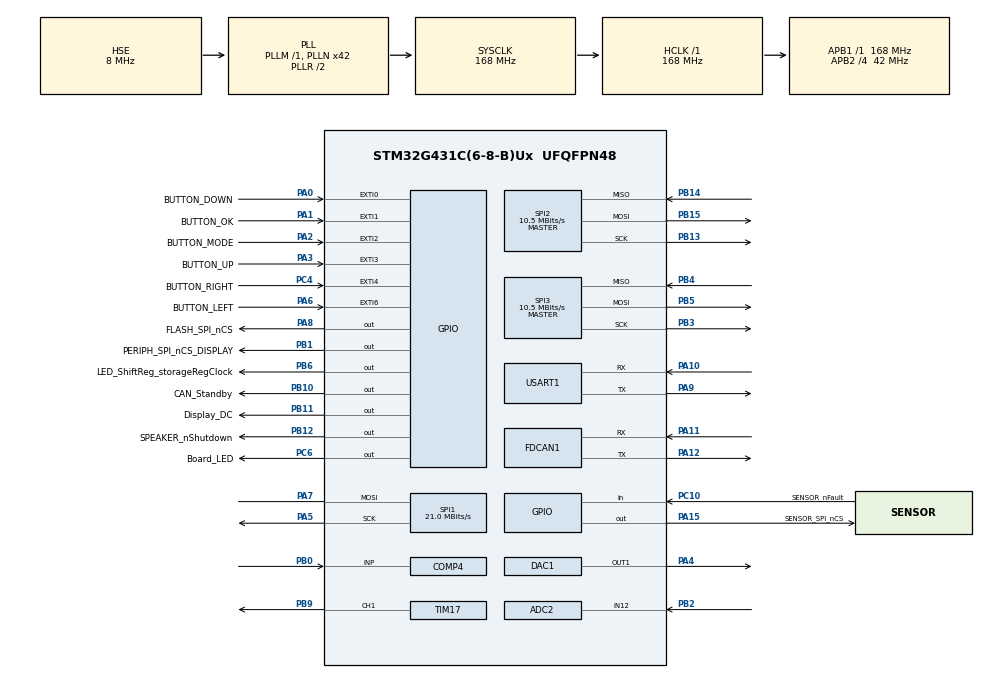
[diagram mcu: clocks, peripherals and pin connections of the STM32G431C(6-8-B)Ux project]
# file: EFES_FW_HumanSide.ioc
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ADC2.Channel-2\#ChannelRegularConversion=ADC_CHANNEL_12
ADC2.NbrOfConversionFlag=1
ADC2.OffsetNumber-2\#ChannelRegularConversion=ADC_OFFSET_NONE
ADC2.Rank-2\#ChannelRegularConversion=1
ADC2.SamplingTime-2\#ChannelRegularConversion=ADC_SAMPLETIME_2CYCLES_5
DAC3.DAC_Channel-DAC_OUT2_Int=DAC_CHANNEL_2
Dma.Request0=SPI1_TX
Dma.SPI1_TX.0.Direction=DMA_MEMORY_TO_PERIPH
Dma.SPI1_TX.0.EventEnable=DISABLE
Dma.SPI1_TX.0.Instance=DMA1_Channel1
Dma.SPI1_TX.0.MemDataAlignment=DMA_MDATAALIGN_BYTE
Dma.SPI1_TX.0.MemInc=DMA_MINC_ENABLE
Dma.SPI1_TX.0.Mode=DMA_NORMAL
Dma.SPI1_TX.0.PeriphDataAlignment=DMA_PDATAALIGN_BYTE
Dma.SPI1_TX.0.PeriphInc=DMA_PINC_DISABLE
Dma.SPI1_TX.0.Polarity=HAL_DMAMUX_REQ_GEN_RISING
Dma.SPI1_TX.0.Priority=DMA_PRIORITY_HIGH
Dma.SPI1_TX.0.RequestNumber=1
Dma.SPI1_TX.0.SignalID=NONE
Dma.SPI1_TX.0.SyncEnable=DISABLE
Dma.SPI1_TX.0.SyncPolarity=HAL_DMAMUX_SYNC_NO_EVENT
Dma.SPI1_TX.0.SyncRequestNumber=1
Dma.SPI1_TX.0.SyncSignalID=NONE
FDCAN1.CalculateBaudRateNominal=500000
FDCAN1.CalculateTimeBitNominal=2000
FDCAN1.CalculateTimeQuantumNominal=71.42857142857143
FDCAN1.NominalPrescaler=12
FDCAN1.NominalSyncJumpWidth=4
FDCAN1.NominalTimeSeg1=23
FDCAN1.NominalTimeSeg2=4
FDCAN1.StdFiltersNbr=1
Mcu.Family=STM32G4
Mcu.Name=STM32G431C(6-8-B)Ux
Mcu.Package=UFQFPN48
NVIC.DMA1_Channel1_IRQn=true\:5\:0\:true\:false\:true\:false\:true\:true
NVIC.FDCAN1_IT0_IRQn=true\:0\:0\:false\:false\:true\:true\:true\:true
NVIC.PriorityGroup=NVIC_PRIORITYGROUP_4
NVIC.TIM6_DAC_IRQn=true\:6\:0\:true\:false\:true\:true\:true\:true
NVIC.TIM7_IRQn=true\:6\:0\:true\:false\:true\:true\:true\:true
PA0.GPIO_Label=BUTTON_DOWN
PA0.Signal=GPXTI0
PA1.GPIO_Label=BUTTON_OK
PA1.Signal=GPXTI1
PA10.Mode=Asynchronous
PA10.Signal=USART1_RX
PA11.Mode=FDCAN_Activate
PA11.Signal=FDCAN1_RX
PA12.Mode=FDCAN_Activate
PA12.Signal=FDCAN1_TX
PA13.Mode=Serial_Wire
PA13.Signal=SYS_JTMS-SWDIO
PA14.Mode=Serial_Wire
PA14.Signal=SYS_JTCK-SWCLK
PA15.GPIO_Label=SENSOR_SPI_nCS
PA15.Signal=GPIO_Output
PA2.GPIO_Label=BUTTON_MODE
PA2.Signal=GPXTI2
PA3.GPIO_Label=BUTTON_UP
PA3.Signal=GPXTI3
PA4.Signal=COMP_DAC11_group
PA5.Mode=Simplex_Bidirectional_Master
PA5.Signal=SPI1_SCK
PA6.GPIO_Label=BUTTON_LEFT
PA6.Signal=GPXTI6
PA7.Mode=Simplex_Bidirectional_Master
PA7.Signal=SPI1_MOSI
PA8.GPIO_Label=FLASH_SPI_nCS
PA8.Signal=GPIO_Output
PA9.Mode=Asynchronous
PA9.Signal=USART1_TX
PB0.Mode=INP
PB0.Signal=COMP4_INP
PB1.GPIO_Label=PERIPH_SPI_nCS_DISPLAY
PB1.Signal=GPIO_Output
PB10.GPIO_Label=CAN_Standby
PB10.Signal=GPIO_Output
PB11.GPIO_Label=Display_DC
PB11.Signal=GPIO_Output
PB12.GPIO_Label=SPEAKER_nShutdown
PB12.Signal=GPIO_Output
PB13.Mode=Full_Duplex_Master
PB13.Signal=SPI2_SCK
PB14.Mode=Full_Duplex_Master
PB14.Signal=SPI2_MISO
PB15.Mode=Full_Duplex_Master
PB15.Signal=SPI2_MOSI
PB2.Mode=IN12-Single-Ended
PB2.Signal=ADC2_IN12
PB3.Mode=Full_Duplex_Master
PB3.Signal=SPI3_SCK
PB4.Mode=Full_Duplex_Master
PB4.Signal=SPI3_MISO
PB5.Mode=Full_Duplex_Master
PB5.Signal=SPI3_MOSI
PB6.GPIO_Label=LED_ShiftReg_storageRegClock
PB6.Signal=GPIO_Output
PB9.Signal=S_TIM17_CH1
PC10.GPIO_Label=SENSOR_nFault
PC10.Signal=GPIO_Input
PC4.GPIO_Label=BUTTON_RIGHT
PC4.Signal=GPXTI4
PC6.GPIO_Label=Board_LED
PC6.Signal=GPIO_Output
PF0-OSC_IN.Mode=HSE-External-Oscillator
PF0-OSC_IN.Signal=RCC_OSC_IN
PF1-OSC_OUT.Mode=HSE-External-Oscillator
PF1-OSC_OUT.Signal=RCC_OSC_OUT
ProjectManager.HeapSize=0x200
ProjectManager.StackSize=0x400
ProjectManager.TargetToolchain=CMake
RCC.ADC12Freq_Value=168000000
RCC.AHBFreq_Value=168000000
RCC.APB1Freq_Value=168000000
RCC.APB1TimFreq_Value=168000000
RCC.APB2CLKDivider=RCC_HCLK_DIV4
RCC.APB2Freq_Value=42000000
RCC.APB2TimFreq_Value=84000000
RCC.CortexFreq_Value=168000000
RCC.EXTERNAL_CLOCK_VALUE=12288000
RCC.HCLKFreq_Value=168000000
RCC.HSE_VALUE=8000000
RCC.HSI48_VALUE=48000000
RCC.HSI_VALUE=16000000
RCC.LSE_VALUE=32768
RCC.PLLN=42
RCC.PLLSourceVirtual=RCC_PLLSOURCE_HSE
RCC.SYSCLKFreq_VALUE=168000000
RCC.SYSCLKSource=RCC_SYSCLKSOURCE_PLLCLK
RCC.USBFreq_Value=168000000
RCC.VCOOutputFreq_Value=336000000
SH.COMP_DAC11_group.0=DAC1_OUT1,DAC_OUT1
SH.S_TIM17_CH1.0=TIM17_CH1,PWM Generation1 CH1
SPI1.BaudRatePrescaler=SPI_BAUDRATEPRESCALER_2
SPI1.CalculateBaudRate=21.0 MBits/s
SPI1.DataSize=SPI_DATASIZE_8BIT
SPI1.Direction=SPI_DIRECTION_1LINE
SPI1.Mode=SPI_MODE_MASTER
SPI1.VirtualType=VM_MASTER
SPI2.BaudRatePrescaler=SPI_BAUDRATEPRESCALER_16
SPI2.CalculateBaudRate=10.5 MBits/s
SPI2.Direction=SPI_DIRECTION_2LINES
SPI2.Mode=SPI_MODE_MASTER
SPI2.VirtualType=VM_MASTER
SPI3.BaudRatePrescaler=SPI_BAUDRATEPRESCALER_16
SPI3.CalculateBaudRate=10.5 MBits/s
SPI3.DataSize=SPI_DATASIZE_8BIT
SPI3.Direction=SPI_DIRECTION_2LINES
SPI3.Mode=SPI_MODE_MASTER
SPI3.VirtualType=VM_MASTER
TIM17.Channel=TIM_CHANNEL_1
TIM6.PeriodNoDither=199
TIM6.Prescaler=16799
TIM7.PeriodNoDither=49
TIM7.Prescaler=16799
USART1.VirtualMode-Asynchronous=VM_ASYNC
VP_COMP4_VS_DAC3OUT2.Mode=INM_DAC3OUT2
VP_DAC3_VS_DACI2.Mode=DAC_OUT2_Int
VP_SYS_VS_DBSignals.Mode=DisableDeadBatterySignals
VP_TIM16_VS_ClockSourceINT.Mode=Enable_Timer
VP_TIM17_VS_ClockSourceINT.Mode=Enable_Timer
VP_TIM6_VS_ClockSourceINT.Mode=Enable_Timer
VP_TIM7_VS_ClockSourceINT.Mode=Enable_Timer
board=custom

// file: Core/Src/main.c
/* USER CODE BEGIN Header */
/**
  ******************************************************************************
  * @file           : main.c
  * @brief          : Main program body
  ******************************************************************************
  * @attention
  *
  * Copyright (c) 2026 STMicroelectronics.
  * All rights reserved.
  *
  * This software is licensed under terms that can be found in the LICENSE file
  * in the root directory of this software component.
  * If no LICENSE file comes with this software, it is provided AS-IS.
  *
  ******************************************************************************
  */
/* USER CODE END Header */
#include "main.h"
#include "adc.h"
#include "comp.h"
#include "dac.h"
#include "dma.h"
#include "fdcan.h"
#include "spi.h"
#include "tim.h"
#include "usart.h"
#include "gpio.h"

/* USER CODE BEGIN Includes */
#include "st7789.h"
#include "st7789_transport.h"
#include "UI_module.h"
#include "App.h"
#include "button.h"

/* USER CODE END Includes */

void SystemClock_Config(void);

/* USER CODE BEGIN 0 */
/* Independent simulated data sources. UI refresh remains owned by TIM6. */
#define DEMO_ANGLE_PERIOD_MS 10U
#define DEMO_SPEED_PERIOD_MS 100U
#define DEMO_STATUS_PERIOD_MS 250U
#define DEMO_CYCLE_MS 40000U

static const struct {
	uint32_t time_ms;
	int16_t angle_deci_deg;
	uint16_t speed_kmh;
} demo_route[] = {
	/* Time     Steering   Speed: acceleration, bends, then parking. */
	{    0,       0,        0},
	{ 5000,       0,       45},
	{ 9000,      60,       55},
	{13000,     -60,       55},
	{17000,       0,       35},
	{21000,     300,       18},
	{25000,    -450,        8},
	{29000,    4500,        5},
	{33000,   -4500,        5},
	{37000,       0,        0},
	{40000,       0,        0}
};

/* Dedicated road-wheel targets in tenths of a degree, one step every 5 s. */
static const int16_t demo_road_targets[] = {0, 124, -160, 60, -30, 200, -200, 0};
/* Response time in 10 ms steps: COMFORT 250 ms, ECO 450 ms, SPORT 100 ms. */
static const int demo_motor_response_steps[] = {
	[APP_DRIVE_NORMAL] = 25, [APP_DRIVE_ECO] = 45, [APP_DRIVE_SPORT] = 10
};
static int16_t demo_motor_angle;
static Sensor_State demo_sensor;
static RoadFeedback_State demo_road;
static Operating_State demo_operating;
static uint32_t demo_started_at;
static uint32_t demo_angle_at;
static uint32_t demo_speed_at;
static uint32_t demo_status_at;

static int32_t Demo_Interpolate(int32_t from, int32_t to,
		uint32_t elapsed, uint32_t duration)
{
	return from + (to - from) * (int32_t)elapsed / (int32_t)duration;
}

/* Demo producer adapter. Real communication modules will publish these same
 * contracts on reception and timer expiration, independently of this demo.
 */
static void Demo_Publish(uint32_t now)
{
	demo_sensor.valid = true;
	demo_sensor.stale = (uint32_t)(now - demo_sensor.received_at_ms) >= SENSOR_TIMEOUT_MS;
	demo_road.stale = (uint32_t)(now - demo_road.received_at_ms) >= ROAD_TIMEOUT_MS;
	Sensor_PublishState(&demo_sensor);
	Road_PublishState(&demo_road);
	Operating_PublishState(&demo_operating);
}

static void Demo_Init(void)
{
	uint32_t now = HAL_GetTick();
	demo_started_at = now;
	demo_angle_at = now;
	demo_speed_at = now;
	demo_status_at = now;
	demo_motor_angle = 0;
	demo_sensor = (Sensor_State){
		.received_at_ms = now,
		.channel_b_angle_deci_deg = 1,
		.deviation_limit_deci_deg = 10, /* Temporary simulated FPGA configuration. */
		.channel_a_valid = true,
		.channel_b_valid = true
	};
	demo_road = (RoadFeedback_State){
		.received_at_ms = now,
		.valid = true
	};
	demo_operating = (Operating_State){
		.steering_ratio_deci = 128,
		.can_online = true,
		.actuator_ready = true,
		.speed_simulated = true
	};
	Demo_Publish(now);
}

static void Demo_Process(void)
{
	uint32_t now = HAL_GetTick();
	bool angle_due = (uint32_t)(now - demo_angle_at) >= DEMO_ANGLE_PERIOD_MS;
	bool speed_due = (uint32_t)(now - demo_speed_at) >= DEMO_SPEED_PERIOD_MS;
	bool status_due = (uint32_t)(now - demo_status_at) >= DEMO_STATUS_PERIOD_MS;
	if (!angle_due && !speed_due && !status_due) {
		return;
	}

	uint32_t phase = (uint32_t)(now - demo_started_at) % DEMO_CYCLE_MS;
	unsigned segment = 0;
	while (phase >= demo_route[segment + 1].time_ms) {
		segment++;
	}
	uint32_t elapsed = phase - demo_route[segment].time_ms;
	uint32_t duration = demo_route[segment + 1].time_ms - demo_route[segment].time_ms;

	if (angle_due) {
		demo_angle_at = now;
		demo_operating.steering_angle_deci_deg = Demo_Interpolate(
			demo_route[segment].angle_deci_deg, demo_route[segment + 1].angle_deci_deg,
			elapsed, duration);
		int offset = 1 + (phase / 250U) % 4U;
		if (phase >= 26000U && phase < 28000U) {
			offset = 4 + (phase - 26000U) / 200U;
		}
		if (phase >= 28000U && phase < 32000U) {
			offset = 14;
		}
		/* Simulated sensor silence: other modules keep publishing their own data. */
		if (!(phase >= 20000U && phase < 23000U)) {
			demo_sensor.channel_a_angle_deci_deg = demo_operating.steering_angle_deci_deg;
			demo_sensor.channel_b_angle_deci_deg = demo_sensor.channel_a_angle_deci_deg + offset;
			demo_sensor.received_at_ms = now;
		}
		demo_operating.road_requested_angle_deci_deg = demo_road_targets[phase / 5000U];
		/* Mode changes only the simulated motor response, not the UI timings. */
		int motor_error = demo_operating.road_requested_angle_deci_deg - demo_motor_angle;
		App_View view;
		App_GetView(&view);
		int response_steps = demo_motor_response_steps[view.drive_mode];
		demo_motor_angle += motor_error >= 0 ? (motor_error + response_steps - 1) / response_steps :
			(motor_error - response_steps + 1) / response_steps;
		/* Simulate CAN feedback silence from 18 to 20 s; the motor keeps moving. */
		if (!(phase >= 18000U && phase < 20000U) && !(phase >= 38000U && phase < 39000U)) {
			demo_road.actual_angle_deci_deg = demo_motor_angle;
			demo_road.received_at_ms = now;
		}
	}
	if (speed_due) {
		demo_speed_at = now;
		demo_operating.vehicle_speed_kmh = Demo_Interpolate(
			demo_route[segment].speed_kmh, demo_route[segment + 1].speed_kmh,
			elapsed, duration);
		/* Example speed-adaptive map: 12.0:1 at rest, 13.1:1 at 55 km/h. */
		demo_operating.steering_ratio_deci = 120U + demo_operating.vehicle_speed_kmh / 5U;
	}
	if (status_due) {
		demo_status_at = now;
		/* Brief diagnostic changes while stopped, then automatic recovery.
			*/
		/* Simulate an incoming hardware flag independently of the measured delta.
			* From 27.4 s to 28 s the bar saturates but stays green until that flag arrives.
			*/
		demo_sensor.plausibility_fault = phase >= 28000U && phase < 32000U;
		demo_sensor.channel_a_valid = true;
		demo_sensor.channel_b_valid = !(phase >= 37000U && phase < 38000U);
		demo_operating.can_online = !(phase >= 38000U && phase < 39000U);
		demo_road.valid = phase < 39000U;
		demo_operating.actuator_ready = !(phase >= 39000U);
	}

	/* Publish the latest data once, without waiting for the display. If the
		* superloop is late, sample the current route time instead of replaying it.
		*/
	Demo_Publish(now);
}

/* USER CODE END 0 */

int main(void)
{

  /* MCU Configuration--------------------------------------------------------*/

  /* Reset of all peripherals, Initializes the Flash interface and the Systick. */
  HAL_Init();

  /* Configure the system clock */
  SystemClock_Config();

  /* Initialize all configured peripherals */
  MX_GPIO_Init();
  MX_DMA_Init();
  MX_SPI1_Init();
  MX_TIM7_Init();
  MX_TIM6_Init();
  MX_DAC1_Init();
  MX_FDCAN1_Init();
  MX_SPI2_Init();
  MX_SPI3_Init();
  MX_USART1_UART_Init();
  MX_ADC2_Init();
  MX_COMP4_Init();
  MX_DAC3_Init();
  MX_TIM16_Init();
  MX_TIM17_Init();
  /* USER CODE BEGIN 2 */
  if (ST7789_Init() != ST7789_OK) {
    Error_Handler();
  }
  UI_Init();

	Communication_Init();
	App_Init();
	Demo_Init();

  /* USER CODE END 2 */

  /* Infinite loop */
  while (1)
  {

    /* USER CODE BEGIN 3 */
	Demo_Process();
	App_Process();
	ST7789_Process();

	UI_Process();

	// Do not sleep while software can advance the rendering or consume events.
	// Keep interrupts masked between checking the flags and WFI: an interrupt
	// becoming pending wakes the CPU, then runs when PRIMASK is restored.
	// Normal Sleep keeps timers, SysTick and SPI DMA running
	uint32_t mask = lock();
	if (	(!button_hasEvents())		&&
			(!Sensor_HasUpdate())		&&
			(!Road_HasUpdate())		&&
			(!Operating_HasUpdate())	&&
			(!ST7789_NeedsProcess())	&&
			(!UI_NeedsProcess())) {
		__DSB();
		HAL_PWR_EnterSLEEPMode(
			PWR_MAINREGULATOR_ON,
			PWR_SLEEPENTRY_WFI
		);
	}
	unlock(mask);
  }
  /* USER CODE END 3 */
}

void SystemClock_Config(void)
{
  RCC_OscInitTypeDef RCC_OscInitStruct = {0};
  RCC_ClkInitTypeDef RCC_ClkInitStruct = {0};

  /** Configure the main internal regulator output voltage
  */
  HAL_PWREx_ControlVoltageScaling(PWR_REGULATOR_VOLTAGE_SCALE1_BOOST);

  /** Initializes the RCC Oscillators according to the specified parameters
  * in the RCC_OscInitTypeDef structure.
  */
  RCC_OscInitStruct.OscillatorType = RCC_OSCILLATORTYPE_HSE;
  RCC_OscInitStruct.HSEState = RCC_HSE_ON;
  RCC_OscInitStruct.PLL.PLLState = RCC_PLL_ON;
  RCC_OscInitStruct.PLL.PLLSource = RCC_PLLSOURCE_HSE;
  RCC_OscInitStruct.PLL.PLLM = RCC_PLLM_DIV1;
  RCC_OscInitStruct.PLL.PLLN = 42;
  RCC_OscInitStruct.PLL.PLLP = RCC_PLLP_DIV2;
  RCC_OscInitStruct.PLL.PLLQ = RCC_PLLQ_DIV2;
  RCC_OscInitStruct.PLL.PLLR = RCC_PLLR_DIV2;
  if (HAL_RCC_OscConfig(&RCC_OscInitStruct) != HAL_OK)
  {
    Error_Handler();
  }

  /** Initializes the CPU, AHB and APB buses clocks
  */
  RCC_ClkInitStruct.ClockType = RCC_CLOCKTYPE_HCLK|RCC_CLOCKTYPE_SYSCLK
                              |RCC_CLOCKTYPE_PCLK1|RCC_CLOCKTYPE_PCLK2;
  RCC_ClkInitStruct.SYSCLKSource = RCC_SYSCLKSOURCE_PLLCLK;
  RCC_ClkInitStruct.AHBCLKDivider = RCC_SYSCLK_DIV1;
  RCC_ClkInitStruct.APB1CLKDivider = RCC_HCLK_DIV1;
  RCC_ClkInitStruct.APB2CLKDivider = RCC_HCLK_DIV4;

  if (HAL_RCC_ClockConfig(&RCC_ClkInitStruct, FLASH_LATENCY_4) != HAL_OK)
  {
    Error_Handler();
  }
}

/* USER CODE BEGIN 4 */
/* Save PRIMASK and mask configurable interrupt handlers until unlock.
 * Interrupt requests can still become pending and wake WFI.
 * Always pass unlock the value returned by its matching lock: this preserves
 * an outer critical section and also permits calls from interrupt handlers.
 * DMB orders memory accesses around the protected section.
 */
uint32_t lock(void) {
	uint32_t mask = __get_PRIMASK();	// Save the current state of PRIMASK (defines which interrupts are handled by the ARM Core)
	__disable_irq();					// Set PRIMASK to all 1's (basically all interrupts arriving to ARM Core are ignored)
	__DMB();							// Impose that all memory accesses up until this point are completed!
	return mask;						// Return the PRIMASK, so it can be restored at unlock phase
}

void unlock(uint32_t mask) {
	__DMB();							// Impose that all memory accesses up until this point are completed!
	__set_PRIMASK(mask);		// Restore the PRIMASK to re-abilitate the Interrupts!
}

void HAL_TIM_PeriodElapsedCallback(TIM_HandleTypeDef *htim)
{
	if (htim->Instance == TIM6) {
		UI_RequestRefreshISR();
	} else if (htim->Instance == TIM7) {
		button_timerElapsedISR();
	}
}

void HAL_SPI_TxCpltCallback(SPI_HandleTypeDef *hspi)
{
  ST7789_TransportTxCompleteISR(hspi);
}

void HAL_SPI_ErrorCallback(SPI_HandleTypeDef *hspi)
{
  ST7789_TransportErrorISR(hspi);
}

/* USER CODE END 4 */

void Error_Handler(void)
{
  __disable_irq();
  while (1)
  {
  }
}
